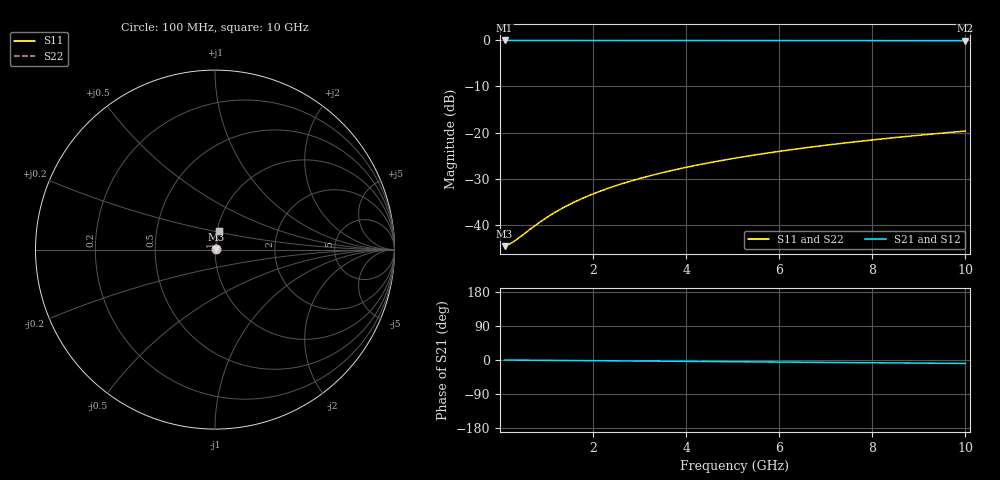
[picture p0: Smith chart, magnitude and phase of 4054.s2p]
# Hz S RI R 50.00
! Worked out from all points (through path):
!   100 points, 100 MHz to 10 GHz, reference 50 ohm
!   highest |S21| = -0.05 dB at 100 MHz (marker M1); lowest = -0.1 dB at 10 GHz (marker M2)
!   group delay of S21, straight-line fit = 2.52 ps
!   lowest |S11| = -44.6 dB at 100 MHz (marker M3), VSWR 1.01, Z = 50.6 + j0.104 ohm
!   |S11| at or under -10 dB: start of sweep to end of sweep
!   |S22| runs from -44.6 to -19.7 dB; largest |S21 - S12| = 0
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1e8  0.0058 0.00103  0.9942 -0.00157  0.9942 -0.00157  0.0058 0.00103
2e8  0.00584 0.00206  0.9942 -0.00314  0.9942 -0.00314  0.00584 0.00206
3e8  0.00588 0.00309  0.9941 -0.00471  0.9941 -0.00471  0.00588 0.00309
4e8  0.00591 0.00412  0.9941 -0.00628  0.9941 -0.00628  0.00591 0.00412
8e8  0.00605 0.00824  0.9939 -0.0126  0.9939 -0.0126  0.00605 0.00824
1.1e9  0.00618 0.0113  0.9938 -0.0173  0.9938 -0.0173  0.00618 0.0113
1.4e9  0.00633 0.0144  0.9936 -0.022  0.9936 -0.022  0.00633 0.0144
1.6e9  0.00645 0.0165  0.9935 -0.0251  0.9935 -0.0251  0.00645 0.0165
1.8e9  0.00657 0.0185  0.9934 -0.0283  0.9934 -0.0283  0.00657 0.0185
2.1e9  0.00679 0.0216  0.9931 -0.033  0.9931 -0.033  0.00679 0.0216
2.5e9  0.00711 0.0257  0.9928 -0.0392  0.9928 -0.0392  0.00711 0.0257
2.9e9  0.00749 0.0298  0.9924 -0.0455  0.9924 -0.0455  0.00749 0.0298
3.4e9  0.00803 0.035  0.9918 -0.0533  0.9918 -0.0533  0.00803 0.035
3.8e9  0.00852 0.039  0.9913 -0.0596  0.9913 -0.0596  0.00852 0.039
4.2e9  0.00906 0.0431  0.9907 -0.0658  0.9907 -0.0658  0.00906 0.0431
4.6e9  0.00965 0.0472  0.99 -0.0721  0.99 -0.0721  0.00965 0.0472
5.1e9  0.0105 0.0523  0.9891 -0.0799  0.9891 -0.0799  0.0105 0.0523
5.9e9  0.0119 0.0604  0.9875 -0.0923  0.9875 -0.0923  0.0119 0.0604
6.7e9  0.0136 0.0685  0.9857 -0.1048  0.9857 -0.1048  0.0136 0.0685
7.5e9  0.0155 0.0765  0.9837 -0.1171  0.9837 -0.1171  0.0155 0.0765
8.4e9  0.0178 0.0855  0.9811 -0.131  0.9811 -0.131  0.0178 0.0855
1e10  0.0226 0.1013  0.9759 -0.1555  0.9759 -0.1555  0.0226 0.1013
